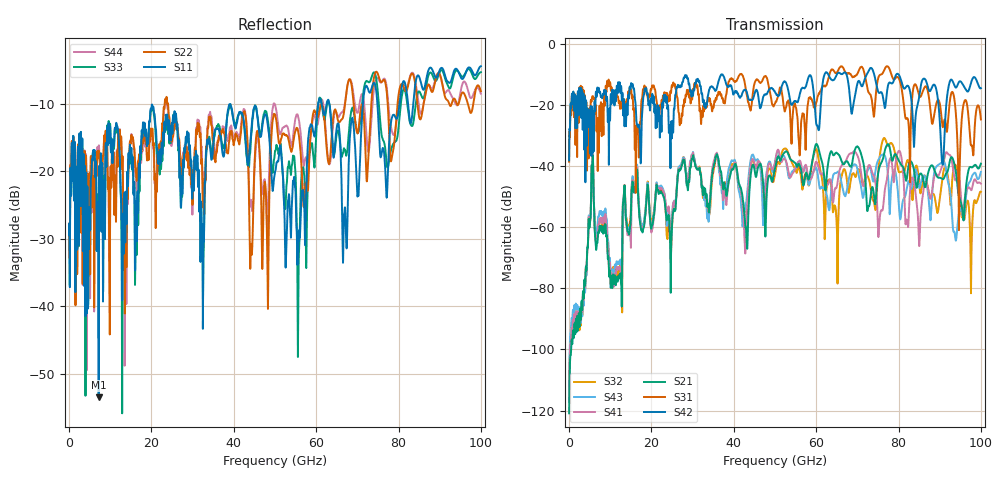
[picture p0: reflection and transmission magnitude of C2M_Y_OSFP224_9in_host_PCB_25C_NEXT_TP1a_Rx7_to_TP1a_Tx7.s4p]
# GHz S RI R 45
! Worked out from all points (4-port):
!   4000 points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, 25 MHz to 100 GHz, reference 45 ohm
!   strongest paths, dB at 25 MHz, 25.02 GHz, 50.02 GHz, 75.03 GHz, 100 GHz:
!     S42: -38.2, -30.2, -15.9, -15.6, -14.6
!     S31: -38.6, -13.7, -19.6, -11.5, -24.8
!     S21: -120.9, -59.1, -40.8, -42.8, -39.3
!     S41: -117.0, -56.9, -38.7, -60.8, -45.8
!     S43: -113.8, -56.6, -38.8, -38.3, -42.0
!     S32: -117.2, -59.2, -42.6, -42.4, -48.5
!   lowest |S11| = -53.5 dB at 7.2 GHz (marker M1), VSWR 1.00, Z = 44.8 + j0.0341 ohm
!   |S11| at or under -10 dB: start of sweep to 60.47 GHz; 63.23 GHz to 71.36 GHz (8.132 GHz wide, 12.1 % of centre); 74.87 GHz to 80.24 GHz (5.37 GHz wide, 6.92 % of centre) (the widest 3 of 5)
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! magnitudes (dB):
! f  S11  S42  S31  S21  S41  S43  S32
! 25 MHz  -29.5  -38.2  -38.6  -120.9  -117.0  -113.8  -117.2
! 7.2 GHz  -53.5  -14.5  -29.5  -61.9  -59.4  -56.5  -59.1
! 55.67 GHz  -31.7  -18.6  -29.9  -39.3  -38.7  -38.7  -40.2
! 73.33 GHz  -8.0  -8.0  -17.3  -48.7  -40.8  -41.6  -48.3
! 90.67 GHz  -4.7  -39.5  -27.0  -44.3  -40.0  -38.6  -43.8
! 93.72 GHz  -4.8  -14.1  -19.9  -40.5  -44.6  -62.8  -39.6
! 100 GHz  -4.4  -14.6  -24.8  -39.3  -45.8  -42.0  -48.5
